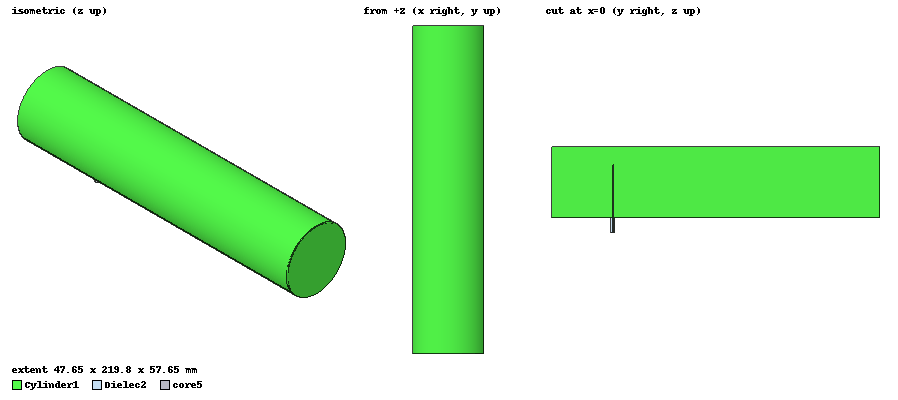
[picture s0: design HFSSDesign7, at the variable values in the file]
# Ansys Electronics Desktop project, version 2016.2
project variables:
  $Pin_length = 10mm
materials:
  pec: conductivity=1e+030
  vacuum: permittivity=1

design HFSSDesign7 (HFSS, DrivenModal, model units mm)
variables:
  Ri = 0.3mm  # optimise 0.28691465880306mm..1.3607439764092mm; sensitivity 0.15mm..0.45mm
  zce = 20mm  # optimise 2.13140684224983mm..6.39422052674948mm; sensitivity 10mm..30mm
  ycer = 0.040915854meter  # sensitivity 0.0204579272096243meter..0.0613737816288729meter
  Hc = 35.7361mm  # optimise 30mm..40mm; sensitivity 17.86805mm..53.60415mm
  Ro = Ri+Rd
  t = 0.235611mm
  Rd = 1.175mm  # optimise 1mm..3mm; sensitivity 0.5875mm..1.7625mm
  RK = 5mm
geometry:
  Cylinder1 [vacuum] = cylinder(axis=Y, base_centre=(0mm, 0mm, 0mm), radius=0.023824072meter, height=(0.02197770609155983*1000*10) mm)
  coordinate_system RelativeCS1 = origin=(30mm, 2.13mm, -6mm) x=(1mm, 0mm, 0mm) y=(0mm, 1mm, 0mm)
  coordinate_system RelativeCS2 = origin=(-30mm, -2.13mm, 6mm) x=(1mm, 0mm, 0mm) y=(0mm, 1mm, 0mm) in RelativeCS1
  core5 [pec] = cylinder(axis=Z, base_centre=(0meter, ycer, -0.023824071643967-zce/2), radius=Ri, height=Hc+zce/2) in RelativeCS2
  core5_3 = core5.copy()
  core5_5 = core5.copy()
  Cylinder1.subtract(core5_5)
  Cylinder1_4 = Cylinder1.copy()
  Dielec2 [vacuum] = cylinder(axis=Z, base_centre=(0meter, ycer, -0.023824071643967-zce/2), radius=Ro-t, height=zce) in RelativeCS2
  Dielec2.subtract(core5_3)
  Dielec2.subtract(Cylinder1_4)
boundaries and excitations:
  1: Wave Port Faces=Cylinder1.face(3 of 3) NumModes=1 Modes{Mode1{IntLine{centre of Cylinder1.face(3 of 3) -> Cylinder1.vertex(2 of 2)} CharImp=Zpi}}
  2: Wave Port Faces=Dielec2.face(2 of 3) NumModes=1 Modes{Mode1{CharImp=Zpi}}
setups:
  Setup1: HfssDriven Frequency=6GHz MaxDeltaS=0.02 MaximumPasses=6 MinimumPasses=1 MinimumConvergedPasses=1 PercentRefinement=30 BasisOrder=1 PortAccuracy=2
    sweep Sweep: 4GHz to 4.8GHz, 20 points; Type=Interpolating InterpTolerance=0.5 InterpMaxSolns=250 InterpUsePortImped=false PassivityErrorTolerance=0.0001
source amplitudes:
  1:1: 1W 0deg
  2:1: 0W 0deg
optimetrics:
  SensitivitySetup1: Sensitivity MaxIterations=10 Master_Goal=-1 MasterError=0.0001
    calculate dB(S(1,2)) on Setup1 : Sweep at Freq 4GHz
    calculate dB(S(1,1)) on Setup1 : Sweep at Freq 4GHz
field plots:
  Mag_E1: E Field in Cylinder1 on Setup1 : LastAdaptive at Freq=6GHz Phase=0deg
  Mag_E2: E Field in Dielec2 on Setup1 : LastAdaptive at Freq=6GHz Phase=0deg
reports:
  XY Plot 1: dB(S(1,1)) vs Freq on Setup1 : Sweep [Rd=1.175mm]
  XY Plot 2: dB(S(2,1)) vs Freq on Setup1 : Sweep [Ri=all zce=all Hc=all Rd=all ycer=all]
